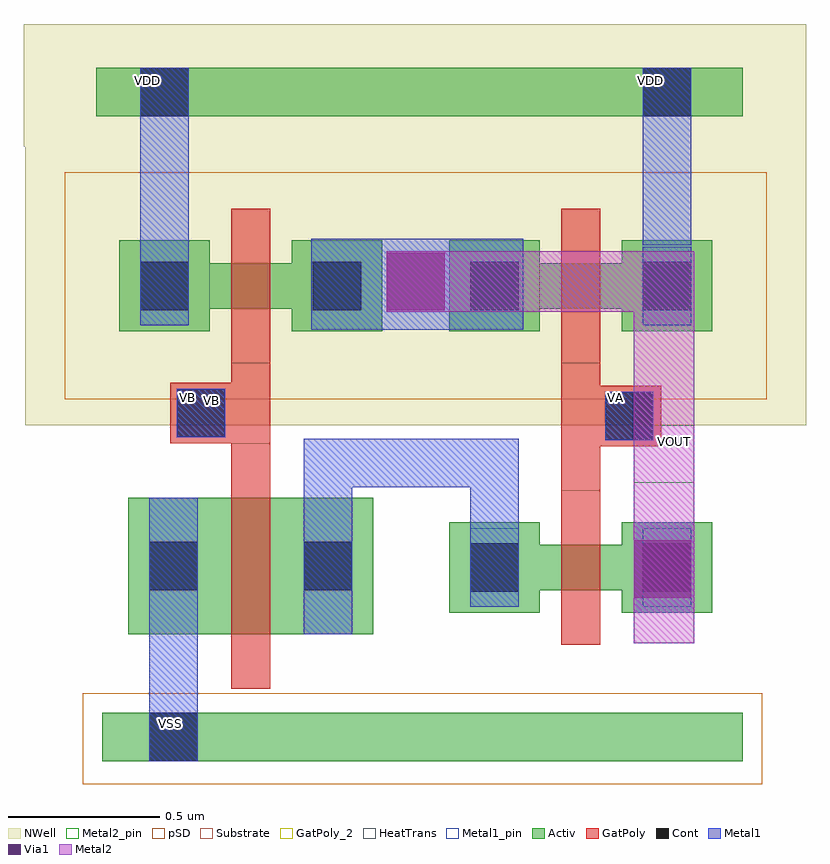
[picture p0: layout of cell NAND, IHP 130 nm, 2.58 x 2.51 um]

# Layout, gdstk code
from math import pi, radians
import gdstk
lib = gdstk.Library(unit=1e-6, precision=5e-09)
def R(c, l, rs):  # rectangles x0, y0, x1, y1
    for r in rs: c.add(gdstk.rectangle(r[:2], r[2:], *l))
Activ = (1, 0)
GatPoly = (5, 0)
GatPoly_2 = (5, 2)
Cont = (6, 0)
Metal1 = (8, 0)
Metal1_pin = (8, 2)
Metal2 = (10, 0)
Metal2_pin = (10, 2)
pSD = (14, 0)
Via1 = (19, 0)
NWell = (31, 0)
Substrate = (40, 0)
HeatTrans = (51, 0)

pmos = lib.new_cell('pmos')
R(pmos, Activ, [(0,0,0.3,0.3), (0.57,0,0.87,0.3), (0,0.075,0.87,0.225)])
R(pmos, GatPoly, [(0.37,-0.105,0.5,0.405), (0.37,-0.105,0.5,0.405)])
R(pmos, Cont, [(0.07,0.07,0.23,0.23), (0.64,0.07,0.8,0.23)])
R(pmos, Metal1, [(0.07,0.02,0.23,0.28), (0.07,0.02,0.23,0.28), (0.64,0.02,0.8,0.28), (0.64,0.02,0.8,0.28)])
R(pmos, pSD, [(-0.18,-0.225,1.05,0.525)])
R(pmos, NWell, [(-0.31,-0.31,1.18,0.61)])
R(pmos, Substrate, [(0.57,0,0.87,0.3)])
R(pmos, HeatTrans, [(0.37,-0.105,0.5,0.405)])
pmos.add(gdstk.Label('pmos', (0.435,0.15), layer=63, texttype=0))
pmos.add(gdstk.Label('pmos', (0.435,0.15), layer=51, texttype=0))

nmos = lib.new_cell('nmos')
R(nmos, Activ, [(0,0,0.3,0.3), (0,0,0.81,0.45), (0.51,0,0.81,0.3)])
R(nmos, GatPoly, [(0.34,-0.18,0.47,0.63)])
R(nmos, GatPoly_2, [(0.34,-0.18,0.47,0.63)])
R(nmos, Cont, [(0.07,0.145,0.23,0.305), (0.58,0.145,0.74,0.305)])
R(nmos, Metal1, [(0.07,0,0.23,0.45), (0.58,0,0.74,0.45)])
R(nmos, Metal1_pin, [(0.07,0,0.23,0.45), (0.58,0,0.74,0.45)])
R(nmos, HeatTrans, [(0.34,-0.18,0.47,0.63)])
nmos.add(gdstk.Label('nmos', (0.405,0.225), layer=63, texttype=0))
nmos.add(gdstk.Label('nmos', (0.405,0.225), layer=51, texttype=0))

nmos_3 = lib.new_cell('nmos$3')
R(nmos_3, Activ, [(0,0,0.3,0.3), (0.57,0,0.87,0.3), (0,0.075,0.87,0.225)])
R(nmos_3, GatPoly, [(0.37,-0.105,0.5,0.405)])
R(nmos_3, GatPoly_2, [(0.37,-0.105,0.5,0.405)])
R(nmos_3, Cont, [(0.07,0.07,0.23,0.23), (0.64,0.07,0.8,0.23)])
R(nmos_3, Metal1, [(0.07,0.02,0.23,0.28), (0.64,0.02,0.8,0.28)])
R(nmos_3, Metal1_pin, [(0.07,0.02,0.23,0.28), (0.64,0.02,0.8,0.28)])
R(nmos_3, HeatTrans, [(0.37,-0.105,0.5,0.405)])
nmos_3.add(gdstk.Label('nmos', (0.435,0.15), layer=63, texttype=0))
nmos_3.add(gdstk.Label('nmos', (0.435,0.15), layer=51, texttype=0))

nand = lib.new_cell('NAND')
R(nand, Activ, [(-0.065,-0.175,2.05,-0.015), (-0.085,1.955,2.05,2.115)])
R(nand, GatPoly, [(1.45,0.615,1.58,1.16), (1.58,0.865,1.78,1.065), (0.16,0.875,0.36,1.075), (0.36,0.875,0.49,1.145)])
R(nand, Cont, [(0.09,-0.175,0.25,-0.015), (1.595,0.885,1.755,1.045), (0.18,0.895,0.34,1.055), (0.06,1.955,0.22,2.115), (1.72,1.955,1.88,2.115)])
R(nand, Metal1, [(0.09,-0.175,0.25,0.245), (1.69,0.315,1.89,0.615), (1.595,0.885,1.755,1.045), (0.18,0.895,0.34,1.055), (0.625,1.25,1.325,1.55), (0.06,1.525,0.22,2.115), (1.72,1.53,1.88,2.115)])
R(nand, Metal1_pin, [(0.09,-0.175,0.25,-0.015), (1.595,0.885,1.755,1.045), (0.18,0.895,0.34,1.055), (0.06,1.955,0.22,2.115), (1.72,1.955,1.88,2.115)])
R(nand, Metal2_pin, [(1.69,0.745,1.89,0.935)])
R(nand, pSD, [(-0.13,-0.25,2.115,0.05)])
R(nand, Via1, [(1.69,0.365,1.88,0.555), (0.875,1.315,1.065,1.505)])
R(nand, NWell, [(-0.325,1.855,2.26,2.26)])
nand.add(gdstk.FlexPath([(1.23,0.595),(1.23,0.81),(0.68,0.81),(0.68,0.615)], 0.16, ends="flush", simple_path=True, layer=8, datatype=0))  # Metal1
nand.add(gdstk.FlexPath([(0.875,1.41),(1.79,1.41),(1.79,0.215)], 0.2, ends="flush", simple_path=True, layer=10, datatype=0))  # Metal2
nand.add(gdstk.Reference(pmos, (1.95,1.245), rotation=pi, x_reflection=True))
nand.add(gdstk.Reference(nmos, (0.83,0.245), rotation=pi, x_reflection=True))
nand.add(gdstk.Reference(nmos_3, (1.95,0.315), rotation=pi, x_reflection=True))
nand.add(gdstk.Reference(pmos, (0.86,1.245), rotation=pi, x_reflection=True))
nand.add(gdstk.Label('VSS', (0.16,-0.05), layer=8, texttype=2))
nand.add(gdstk.Label('VDD', (0.085,2.075), layer=8, texttype=2))
nand.add(gdstk.Label('VDD', (1.745,2.075), layer=8, texttype=2))
nand.add(gdstk.Label('VB', (0.215,1.025), layer=8, texttype=2))
nand.add(gdstk.Label('VA', (1.63,1.025), layer=8, texttype=2))
nand.add(gdstk.Label('VOUT', (1.825,0.88), layer=10, texttype=2))
nand.add(gdstk.Label('VB', (0.295,1.015), layer=8, texttype=25))

lib.write_gds('NAND.gds')
